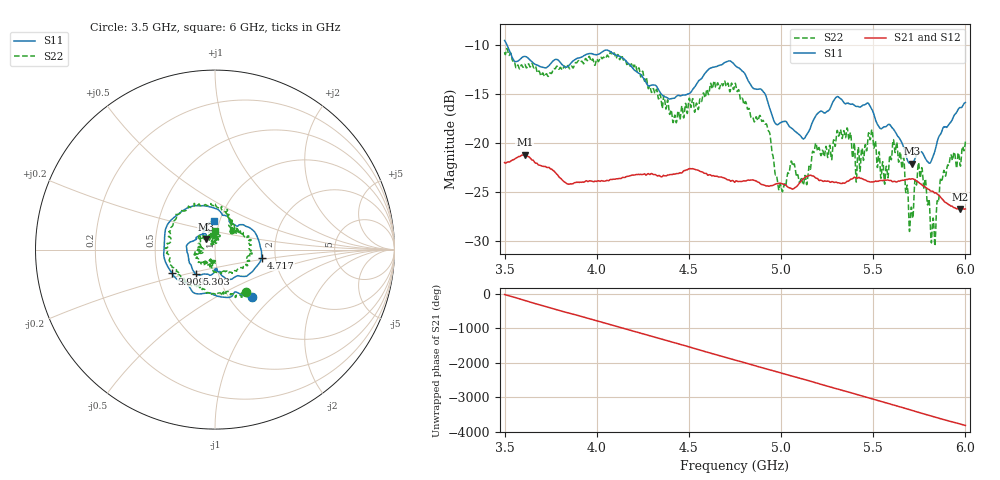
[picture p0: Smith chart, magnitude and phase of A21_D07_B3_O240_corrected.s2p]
! Created with skrf 1.9.0 (http://scikit-rf.org).
# Hz S RI R 50.0
!freq ReS11 ImS11 ReS21 ImS21 ReS12 ImS12 ReS22 ImS22
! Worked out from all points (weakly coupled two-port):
!   1601 points, 3.5 GHz to 6 GHz, reference 50 ohm
!   highest |S21| = -21.17 dB at 3.609 GHz (marker M1); lowest = -26.7 dB at 5.97 GHz (marker M2)
!   lowest |S11| = -22.1 dB at 5.709 GHz (marker M3), VSWR 1.17, Z = 44.9 + j5.42 ohm
!   |S11| at or under -10 dB: 3.514 GHz to end of sweep
!   |S22| runs from -30.5 to -10.3 dB; largest |S21 - S12| = 0.00095
!   S11 on the Smith chart (normalised r, x): 3.5 GHz: 1.26, -0.75; 3.909 GHz: 0.60, -0.17; 4.717 GHz: 1.69, -0.16; 5.303 GHz: 0.78, -0.22; 6 GHz: 0.94, +0.31
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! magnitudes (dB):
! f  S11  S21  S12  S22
! 3.5 GHz  -9.5  -22.0  -22.0  -10.7
! 3.609 GHz  -11.1  -21.2  -21.2  -11.9
! 3.909 GHz  -11.3  -24.0  -24.0  -11.7
! 3.917 GHz  -11.2  -24.0  -24.0  -11.6
! 4.142 GHz  -11.3  -23.5  -23.5  -11.4
! 4.334 GHz  -14.5  -23.3  -23.3  -15.5
! 4.423 GHz  -15.4  -23.2  -23.1  -17.1
! 4.717 GHz  -11.6  -23.7  -23.8  -14.3
! 4.75 GHz  -12.0  -24.0  -23.9  -13.9
! 4.927 GHz  -15.7  -24.4  -24.4  -18.4
! 4.997 GHz  -17.9  -24.1  -24.1  -24.3
! 5.167 GHz  -18.0  -23.3  -23.3  -21.3
! 5.303 GHz  -15.2  -24.0  -24.0  -18.7
! 5.486 GHz  -16.3  -24.0  -23.9  -19.5
! 5.584 GHz  -18.1  -23.8  -23.8  -22.5
! 5.62 GHz  -18.9  -23.9  -23.9  -20.9
! 5.709 GHz  -22.1  -23.6  -23.6  -26.8
! 5.755 GHz  -20.9  -24.1  -24.1  -23.5
! 5.825 GHz  -21.3  -24.9  -24.9  -27.6
! 5.873 GHz  -18.7  -25.7  -25.6  -23.7
! 5.97 GHz  -16.4  -26.7  -26.7  -22.2
! 6 GHz  -15.8  -26.7  -26.7  -19.8
